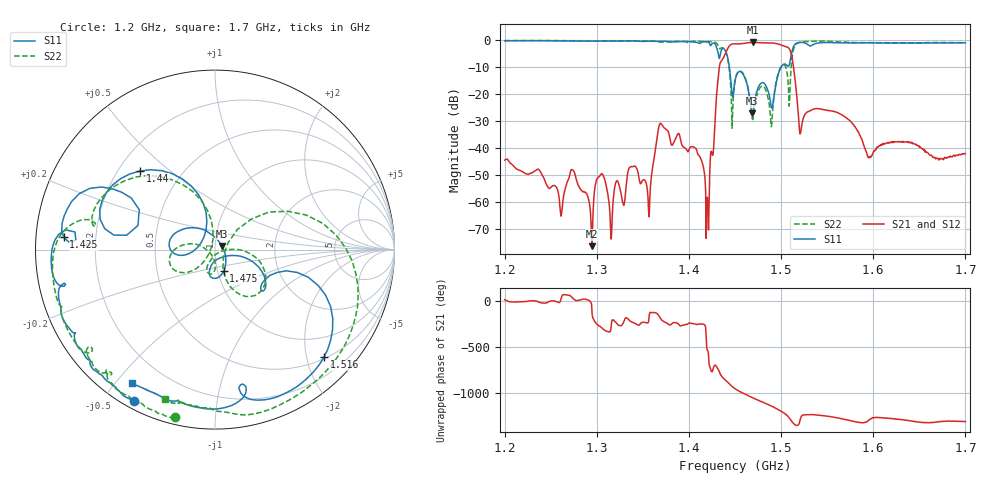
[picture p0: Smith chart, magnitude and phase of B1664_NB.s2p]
! Matrix data file written by TouchstoneData, EPCOS AG
! FILENAME: "B1664.NB.3.snp"
! COMMENT: "(B1664.NB.3.s2p)"
! INFO: nport=2, nfreq=801
! DATE: "Thu Sep  9 14:29:31 2010"
! USER: "Allen Hu"
! port | pin | signal
!  1  |  2  |  input
!  2  |  5  |  output
# MHZ S RI R 50
! freq  reS11 imS11  reS21 imS21  reS12 imS12  reS22 imS22
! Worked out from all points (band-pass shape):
!   801 points, 1.2 GHz to 1.7 GHz, reference 50 ohm
!   highest |S21| = -1.02 dB at 1.469 GHz (marker M1); lowest = -76.4 dB at 1.295 GHz (marker M2)
!   |S21| within 3 dB of the highest: 1.441 GHz to 1.51 GHz (68.81 MHz wide, 4.66 % of centre)
!   lowest |S11| = -27.3 dB at 1.469 GHz (marker M3), VSWR 1.09, Z = 53.9 + j2.24 ohm
!   |S11| at or under -10 dB: 1.444 GHz to 1.5 GHz (56.46 MHz wide, 3.84 % of centre)
!   |S22| runs from -32.8 to -0.3 dB; largest |S21 - S12| = 0.011
!   S11 on the Smith chart (normalised r, x): 1.2 GHz: 0.03, -0.60; 1.425 GHz: 0.08, +0.04; 1.44 GHz: 0.29, +0.40; 1.475 GHz: 1.07, -0.26; 1.516 GHz: 0.53, -2.33; 1.7 GHz: 0.09, -0.55
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1200  -0.4489 -0.8428  0.00579 0.00125  0.00578 0.00129  -0.2245 -0.9342
1283.75  -0.5664 -0.7559  0.00154 0.0004  0.00154 0.000432  -0.3687 -0.8866
1295  -0.5804 -0.741  -0.000128 -8.16e-05  -0.000124 -7.38e-05  -0.3932 -0.8719
1304.375  -0.6048 -0.7291  0.000704 0.00314  0.00069 0.00314  -0.4096 -0.8568
1315  -0.6242 -0.7061  0.000258 0.000175  0.000258 0.000176  -0.4285 -0.8515
1337.5  -0.6823 -0.6627  -0.00309 0.00327  -0.0031 0.00324  -0.4925 -0.8117
1356.25  -0.7182 -0.6031  -0.000482 0.000456  -0.000483 0.00045  -0.567 -0.7616
1366.875  -0.7439 -0.5589  -0.02 -0.00982  -0.0199 -0.00994  -0.5932 -0.6857
1406.875  -0.8722 -0.2419  -0.0033 0.00938  -0.00335 0.00934  -0.7789 -0.5176
1420  -0.9087 -0.00363  -0.00121 -0.000147  -0.00121 -0.000147  -0.8692 -0.3026
1425  -0.8428 0.0687  0.00527 -0.00598  0.0053 -0.00595  -0.9027 -0.1538
1440  -0.4174 0.4381  -0.4538 -0.3518  -0.4509 -0.3549  -0.4393 0.4049
1450  -0.1673 -0.0301  -0.5107 0.6648  -0.5163 0.6603  -0.129 -0.119
1468.75  0.038 0.0208  0.765 0.4527  0.7604 0.461  -0.0313 -0.0147
1469.375  0.0458 0.00554  0.7873 0.413  0.783 0.4215  -0.0229 -0.0243
1475  0.0489 -0.1187  0.878 0.0397  0.8781 0.0501  0.000209 -0.1101
1494.375  0.1437 -0.0376  0.0614 -0.8502  0.0709 -0.8492  0.1597 -0.00628
1506.875  0.2555 -0.2065  -0.7091 -0.1705  -0.7067 -0.1783  0.0823 -0.2044
1516.25  0.6073 -0.5998  -0.000822 0.1242  -0.00224 0.124  0.7961 -0.2021
1533.75  0.1735 -0.7764  -0.0454 -0.0231  -0.0451 -0.0235  0.4231 -0.8327
1616.875  -0.3318 -0.8023  -0.0119 0.00317  -0.0119 0.00305  -0.137 -0.8669
1700  -0.4625 -0.7434  -0.00502 0.00597  -0.00506 0.00591  -0.281 -0.8336
